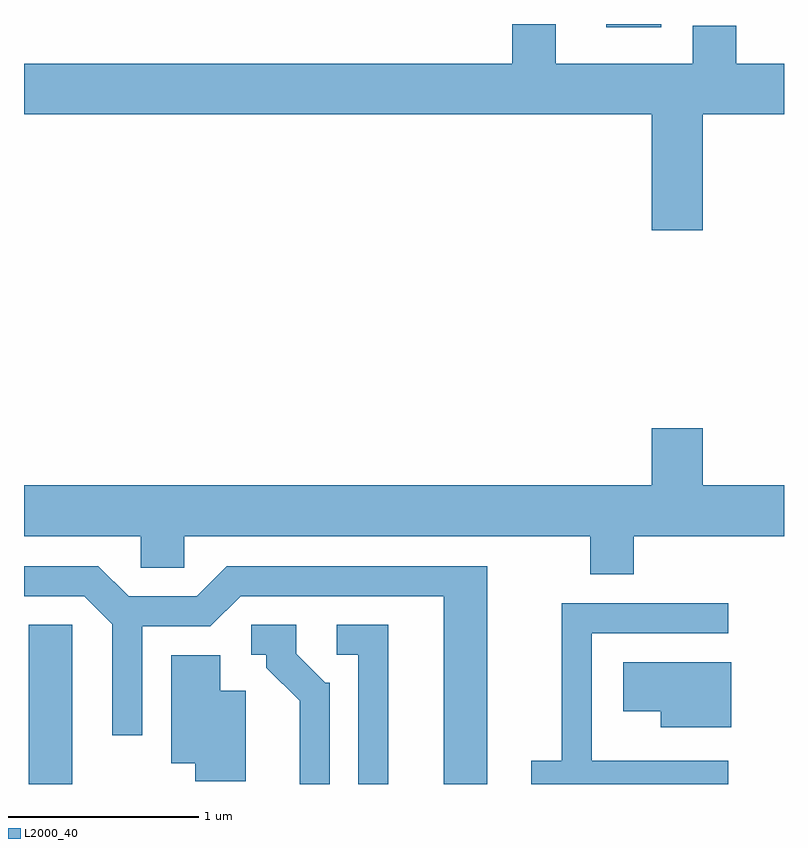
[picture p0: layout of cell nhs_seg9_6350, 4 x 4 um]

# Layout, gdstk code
import gdstk
lib = gdstk.Library(unit=1e-6, precision=1e-09)
def R(c, l, rs):  # rectangles x0, y0, x1, y1
    for r in rs: c.add(gdstk.rectangle(r[:2], r[2:], *l))
def P(c, l, *ps):  # polygons
    for p in ps: c.add(gdstk.Polygon(p, *l))
L2000_40 = (2000, 40)

nhs_seg9_6350 = lib.new_cell('nhs_seg9_6350')
R(nhs_seg9_6350, L2000_40, [(371.636,2070.432,371.864,2071.269), (374.676,2074.416,374.964,2074.432)])
P(nhs_seg9_6350, L2000_40, [(375.184,2073.956),(375.611,2073.956),(375.611,2074.224),(375.359,2074.224),(375.359,2074.424),(375.131,2074.424),(375.131,2074.224),(374.409,2074.224),(374.409,2074.432),(374.181,2074.432),(374.181,2074.224),(371.611,2074.224),(371.611,2073.956),(374.916,2073.956),(374.916,2073.346),(375.184,2073.346)],
  [(374.819,2071.736),(375.611,2071.736),(375.611,2072.004),(375.184,2072.004),(375.184,2072.304),(374.916,2072.304),(374.916,2072.004),(371.611,2072.004),(371.611,2071.736),(372.226,2071.736),(372.226,2071.571),(372.454,2071.571),(372.454,2071.736),(374.591,2071.736),(374.591,2071.536),(374.819,2071.536)],
  [(374.049,2071.579),(372.679,2071.579),(372.519,2071.419),(372.162,2071.419),(372.002,2071.579),(371.611,2071.579),(371.611,2071.421),(371.929,2071.421),(372.076,2071.274),(372.076,2070.688),(372.234,2070.688),(372.234,2071.261),(372.592,2071.261),(372.752,2071.421),(373.821,2071.421),(373.821,2070.432),(374.049,2070.432)],
  [(375.318,2070.554),(374.599,2070.554),(374.599,2071.226),(375.318,2071.226),(375.318,2071.384),(374.441,2071.384),(374.441,2070.554),(374.281,2070.554),(374.281,2070.432),(375.318,2070.432)],
  [(373.529,2071.269),(373.258,2071.269),(373.258,2071.111),(373.371,2071.111),(373.371,2070.432),(373.529,2070.432)],
  [(373.219,2070.964),(373.197,2070.964),(373.044,2071.117),(373.044,2071.269),(372.808,2071.269),(372.808,2071.111),(372.886,2071.111),(372.886,2071.044),(373.061,2070.869),(373.061,2070.432),(373.219,2070.432)],
  [(372.779,2070.924),(372.644,2070.924),(372.644,2071.109),(372.386,2071.109),(372.386,2070.541),(372.511,2070.541),(372.511,2070.446),(372.779,2070.446)],
  [(375.334,2071.074),(374.766,2071.074),(374.766,2070.816),(374.961,2070.816),(374.961,2070.731),(375.334,2070.731)])

lib.write_gds('nhs_seg9_6350.gds')
